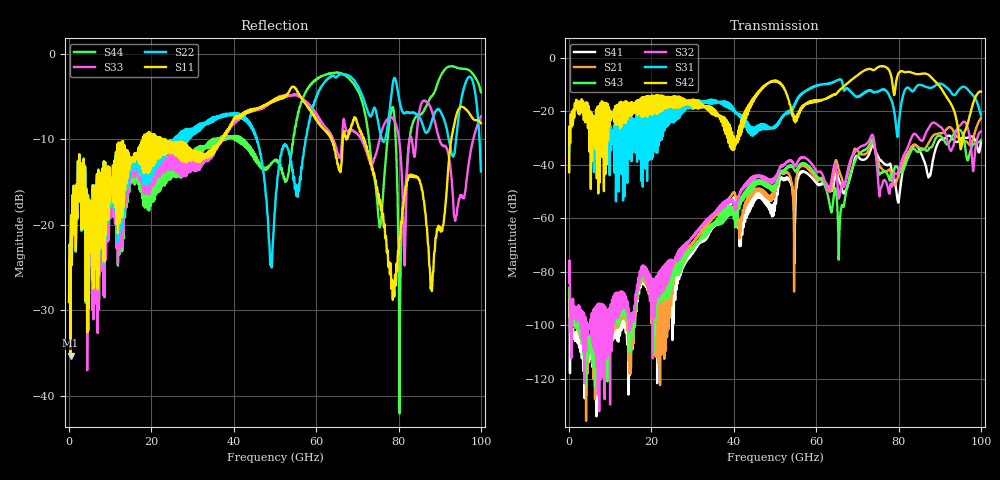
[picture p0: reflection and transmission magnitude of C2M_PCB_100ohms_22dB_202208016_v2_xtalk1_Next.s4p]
! Info: Touchstone file created by Circ.  Input file=Intel_C2M_200G_8p5in_202208016_staggered.circ
# Hz S RI R 50
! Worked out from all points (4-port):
!   10000 points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, 10 MHz to 100 GHz, reference 50 ohm
!   strongest paths, dB at 10 MHz, 25.01 GHz, 50.01 GHz, 75.01 GHz, 100 GHz:
!     S42: -42.6, -14.9, -8.4, -3.4, -12.6
!     S31: -42.7, -18.1, -26.0, -12.6, -21.4
!     S32: -84.1, -75.5, -45.1, -44.9, -27.5
!     S43: -88.3, -78.6, -48.9, -41.3, -30.7
!     S21: -88.6, -76.9, -48.9, -38.3, -22.5
!     S41: -90.2, -78.3, -54.5, -36.8, -31.5
!   lowest |S11| = -35.3 dB at 360 MHz (marker M1), VSWR 1.04, Z = 48.4 + j0.654 ohm
!   |S11| at or under -10 dB: start of sweep to 17.91 GHz; 23.13 GHz to 36.99 GHz (13.86 GHz wide, 46.1 % of centre); 71.6 GHz to 92.83 GHz (21.23 GHz wide, 25.8 % of centre)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
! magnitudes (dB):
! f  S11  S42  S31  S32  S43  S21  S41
! 10 MHz  -29.0  -42.6  -42.7  -84.1  -88.3  -88.6  -90.2
! 360 MHz  -35.3  -22.1  -22.3  -92.0  -97.5  -97.4  -101.3
! 65.66 GHz  -13.6  -12.0  -8.0  -51.8  -64.2  -42.7  -46.2
! 73.47 GHz  -13.4  -4.3  -12.4  -29.0  -30.8  -31.8  -33.4
! 76.09 GHz  -19.1  -3.0  -11.8  -47.1  -42.9  -41.7  -38.9
! 95.19 GHz  -6.2  -33.9  -11.1  -24.8  -27.3  -30.8  -30.1
! 100 GHz  -8.1  -12.6  -21.4  -27.5  -30.7  -22.5  -31.5
